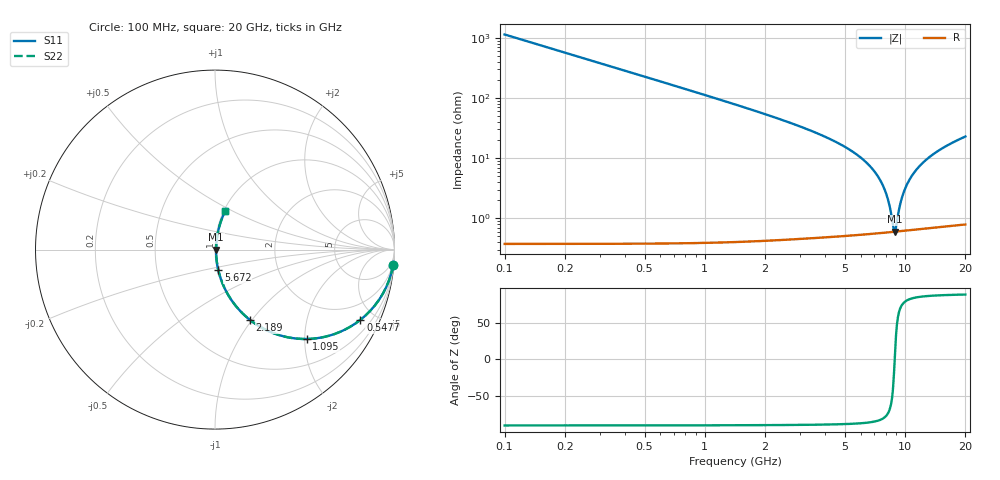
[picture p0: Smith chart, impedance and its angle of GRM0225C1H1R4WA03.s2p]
!Murata Part Number: GRM0225C1H1R4WA03
!These Parameters are Measured in Series Mode Connection
!Data Generated on Mar 30, 2021
!  o--ll--o
!Port1  Port2
!  o------o
!Operation Temp=25[degC], DC Bias Voltage=0[V]
!Freq. Start=100[MHz] Stop=20[GHz] 401[Steps]
# Hz S RI R 50
!Freq.(Hz) S11(Real) S11(Imag) S21(Real) S21(Imag) S12(Real) S12(Imag) S22(Real) S22(Imag)
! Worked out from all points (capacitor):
!   401 points, 100 MHz to 20 GHz, reference 50 ohm
!   read as one part in series: C = 1.4 pF near 199.5 MHz
!   lowest |Z| = 601 mohm at 8.856 GHz (marker M1)
!   series resonance near 8.872 GHz, so ESL is about 230 pH
!   S11 on the Smith chart (normalised r, x): 100 MHz: 1, -23; 547.8 MHz: 1.01, -4.13; 1.095 GHz: 1.01, -2.04; 2.189 GHz: 1.01, -0.97; 5.672 GHz: 1.01, -0.24; 20 GHz: 1.02, +0.46
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1e8  0.9923 -0.0873  0.00771 0.0873  0.00771 0.0873  0.9923 -0.0873
2.99e8  0.9349 -0.2461  0.0651 0.2461  0.0651 0.2461  0.9349 -0.2461
5.4775e8  0.8099 -0.3914  0.1901 0.3914  0.1901 0.3914  0.8099 -0.3914
7.965e8  0.6666 -0.4701  0.3334 0.4701  0.3334 0.4701  0.6666 -0.4701
1.095e9  0.5108 -0.498  0.4892 0.498  0.4892 0.498  0.5108 -0.498
1.5925e9  0.3237 -0.4649  0.6763 0.4649  0.6763 0.4649  0.3237 -0.4649
2.1895e9  0.1938 -0.3909  0.8062 0.3909  0.8062 0.3909  0.1938 -0.3909
3.43325e9  0.0768 -0.2581  0.9232 0.2581  0.9232 0.2581  0.0768 -0.2581
5.672e9  0.0188 -0.1152  0.9812 0.1152  0.9812 0.1152  0.0188 -0.1152
6.7665e9  0.0103 -0.0688  0.9897 0.0688  0.9897 0.0688  0.0103 -0.0688
7.463e9  0.00757 -0.0437  0.9924 0.0437  0.9924 0.0437  0.00757 -0.0437
8.01025e9  0.00644 -0.0258  0.9936 0.0258  0.9936 0.0258  0.00644 -0.0258
8.3585e9  0.00607 -0.015  0.9939 0.015  0.9939 0.015  0.00607 -0.015
8.7565e9  0.00595 -0.00329  0.9941 0.00329  0.9941 0.00329  0.00595 -0.00329
8.856e9  0.00596 -0.000445  0.994 0.000445  0.994 0.000445  0.00596 -0.000445
9.00525e9  0.00601 0.00376  0.994 -0.00376  0.994 -0.00376  0.00601 0.00376
9.50275e9  0.0064 0.0173  0.9936 -0.0173  0.9936 -0.0173  0.0064 0.0173
1.005e10  0.00721 0.0314  0.9928 -0.0314  0.9928 -0.0314  0.00721 0.0314
1.13435e10  0.0104 0.0621  0.9896 -0.0621  0.9896 -0.0621  0.0104 0.0621
1.338325e10  0.018 0.1047  0.982 -0.1047  0.982 -0.1047  0.018 0.1047
1.67165e10  0.0354 0.1642  0.9646 -0.1642  0.9646 -0.1642  0.0354 0.1642
2e10  0.0566 0.2144  0.9434 -0.2144  0.9434 -0.2144  0.0566 0.2144
